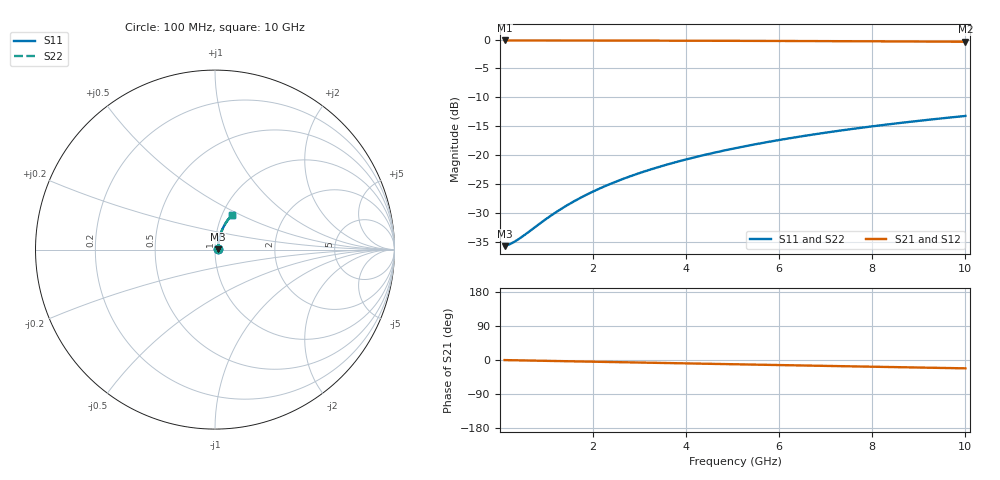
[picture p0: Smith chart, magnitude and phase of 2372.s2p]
# Hz S RI R 50.00
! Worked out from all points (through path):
!   100 points, 100 MHz to 10 GHz, reference 50 ohm
!   highest |S21| = -0.14 dB at 100 MHz (marker M1); lowest = -0.4 dB at 10 GHz (marker M2)
!   group delay of S21, straight-line fit = 6.12 ps
!   lowest |S11| = -35.8 dB at 100 MHz (marker M3), VSWR 1.03, Z = 51.6 + j0.228 ohm
!   |S11| at or under -10 dB: start of sweep to end of sweep
!   |S22| runs from -35.8 to -13.2 dB; largest |S21 - S12| = 0
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1e8  0.0161 0.0022  0.9839 -0.00384  0.9839 -0.00384  0.0161 0.0022
2e8  0.0162 0.00441  0.9838 -0.00769  0.9838 -0.00769  0.0162 0.00441
3e8  0.0163 0.00661  0.9837 -0.0115  0.9837 -0.0115  0.0163 0.00661
4e8  0.0164 0.00881  0.9835 -0.0154  0.9835 -0.0154  0.0164 0.00881
9e8  0.0172 0.0198  0.9827 -0.0346  0.9827 -0.0346  0.0172 0.0198
1.2e9  0.0178 0.0264  0.9819 -0.046  0.9819 -0.046  0.0178 0.0264
1.5e9  0.0186 0.0329  0.981 -0.0575  0.981 -0.0575  0.0186 0.0329
1.8e9  0.0195 0.0395  0.98 -0.069  0.98 -0.069  0.0195 0.0395
2.1e9  0.0206 0.046  0.9788 -0.0804  0.9788 -0.0804  0.0206 0.046
2.5e9  0.0223 0.0546  0.9769 -0.0956  0.9769 -0.0956  0.0223 0.0546
2.9e9  0.0242 0.0632  0.9747 -0.1107  0.9747 -0.1107  0.0242 0.0632
3.4e9  0.0269 0.0737  0.9715 -0.1295  0.9715 -0.1295  0.0269 0.0737
3.8e9  0.0294 0.0821  0.9686 -0.1445  0.9686 -0.1445  0.0294 0.0821
4.2e9  0.0321 0.0904  0.9654 -0.1593  0.9654 -0.1593  0.0321 0.0904
4.6e9  0.0351 0.0986  0.9619 -0.1741  0.9619 -0.1741  0.0351 0.0986
5.1e9  0.0392 0.1087  0.9572 -0.1923  0.9572 -0.1923  0.0392 0.1087
5.9e9  0.0465 0.1244  0.9487 -0.2212  0.9487 -0.2212  0.0465 0.1244
6.7e9  0.0547 0.1396  0.9391 -0.2495  0.9391 -0.2495  0.0547 0.1396
7.5e9  0.0638 0.1541  0.9284 -0.2773  0.9284 -0.2773  0.0638 0.1541
8.4e9  0.075 0.1697  0.9153 -0.3077  0.9153 -0.3077  0.075 0.1697
9.2e9  0.0857 0.1828  0.9026 -0.334  0.9026 -0.334  0.0857 0.1828
1e10  0.0972 0.1952  0.889 -0.3595  0.889 -0.3595  0.0972 0.1952
